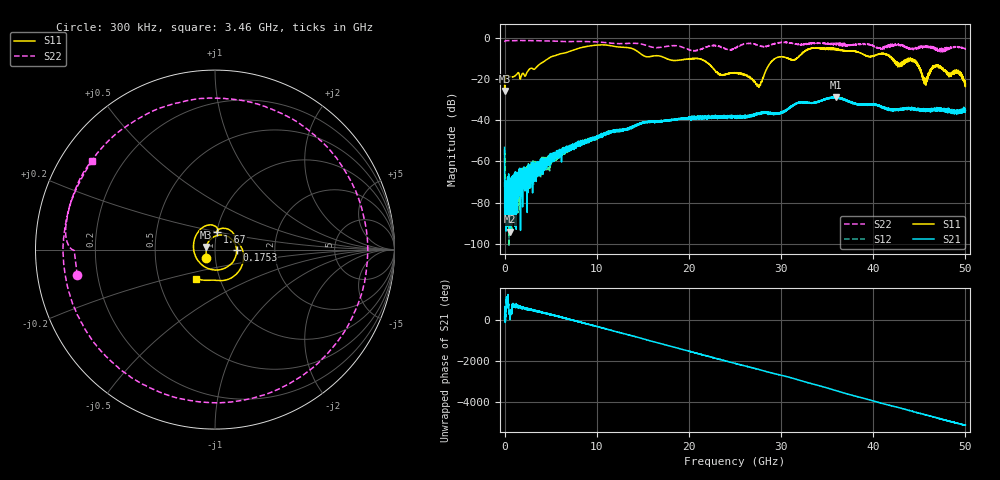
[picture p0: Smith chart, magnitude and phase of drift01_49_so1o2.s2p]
!Created with skrf (http://scikit-rf.org).
# Hz S RI R 50.0
!freq ReS11 ImS11 ReS21 ImS21 ReS12 ImS12 ReS22 ImS22
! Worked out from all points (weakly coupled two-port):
!   10001 points, 300 kHz to 50 GHz, reference 50 ohm
!   highest |S21| = -28.73 dB at 35.94 GHz (marker M1); lowest = -94.2 dB at 590.3 MHz (marker M2)
!   lowest |S11| = -25.8 dB at 5.3 MHz (marker M3), VSWR 1.11, Z = 45.3 + j1.39 ohm
!   |S11| at or under -10 dB: start of sweep to 4.769 GHz; 17.5 GHz to 29.41 GHz (11.9 GHz wide, 50.8 % of centre); 44.05 GHz to end of sweep (the widest 3 of 13)
!   |S22| runs from -6.9 to -1.4 dB; largest |S21 - S12| = 0.0052
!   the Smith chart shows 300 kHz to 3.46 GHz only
!   S11 on the Smith chart (normalised r, x): 300 kHz: 0.90, -0.09; 175.3 MHz: 1.27, -0.01; 1.67 GHz: 1.01, +0.20; 3.46 GHz: 0.77, -0.26
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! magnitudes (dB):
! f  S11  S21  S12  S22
! 300 kHz  -23.2  -53.2  -54.2  -2.1
! 5.3 MHz  -25.8  -71.2  -74.3  -2.1
! 175.3 MHz  -18.4  -78.4  -77.1  -1.5
! 590.3 MHz  -18.8  -94.2  -77.2  -1.5
! 1.67 GHz  -20.0  -65.6  -67.0  -1.4
! 3.46 GHz  -14.3  -67.8  -63.7  -1.5
! 8.335 GHz  -4.8  -50.6  -50.9  -1.8
! 16.67 GHz  -8.8  -40.7  -40.7  -4.9
! 21.17 GHz  -10.3  -38.6  -39.0  -5.9
! 25 GHz  -17.2  -38.1  -38.5  -5.2
! 27.58 GHz  -23.9  -36.8  -36.6  -3.9
! 29.28 GHz  -10.3  -36.9  -36.9  -2.8
! 31.45 GHz  -10.8  -32.5  -32.2  -3.0
! 33.34 GHz  -5.1  -31.8  -31.6  -2.6
! 35.94 GHz  -5.4  -28.7  -29.1  -3.0
! 41.67 GHz  -9.0  -34.5  -34.9  -4.6
! 42.74 GHz  -12.4  -34.8  -34.5  -3.3
! 44.49 GHz  -11.5  -34.5  -34.8  -5.6
! 45.63 GHz  -20.5  -35.7  -35.2  -4.2
! 46.99 GHz  -13.4  -34.8  -35.1  -6.3
! 49.26 GHz  -16.6  -36.6  -35.6  -4.7
! 50 GHz  -22.4  -35.1  -35.3  -5.4
